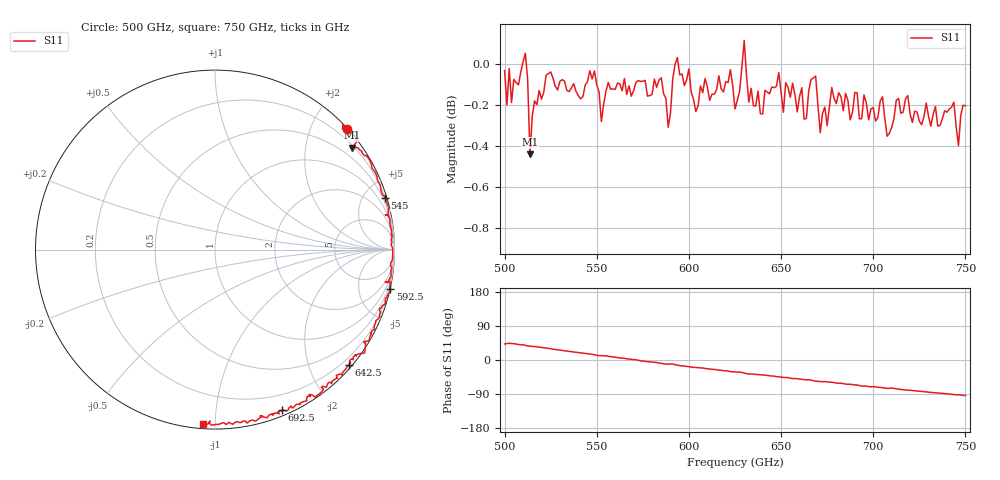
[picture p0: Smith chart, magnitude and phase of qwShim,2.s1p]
!Created with mwavepy.
# GHz S RI R 50.0
!freq	ReS11	ImS11
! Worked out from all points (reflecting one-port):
!   201 points, 500 GHz to 750 GHz, reference 50 ohm
!   lowest |S11| = -0.4 dB at 513.8 GHz (marker M1), VSWR 39.40, Z = 12.8 + j150 ohm
!   phase of S11 starts at 42 deg and turns -136 deg over the sweep
!   S11 on the Smith chart (normalised r, x): 500 GHz: 0.02, +2.58; 545 GHz: 0.23, +6.75; 592.5 GHz: 0.01, -9.09; 642.5 GHz: 0.07, -2.70; 692.5 GHz: 0.05, -1.50; 750 GHz: 0.02, -0.93
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500  0.7359 0.6712
! Port Impedance 50.00000000000000 0.00000000000000
502.5  0.7133 0.697
503.75  0.7105 0.6727
510  0.7686 0.6413
512.5  0.7892 0.5997
513.75  0.7626 0.5674
522.5  0.8444 0.5234
531.25  0.8955 0.4246
545  0.9476 0.287
551.25  0.9649 0.1943
562.5  0.9842 0.0954
585  0.9809 -0.1486
588.75  0.9476 -0.1825
591.25  0.9754 -0.1788
592.5  0.9758 -0.2173
593.75  0.9758 -0.2338
625  0.8294 -0.5123
627.5  0.8379 -0.5168
630  0.8335 -0.5758
632.5  0.782 -0.5885
642.5  0.7468 -0.641
656.25  0.6487 -0.7467
663.75  0.5927 -0.7677
668.75  0.5567 -0.8223
687.5  0.4241 -0.8713
692.5  0.3745 -0.8943
718.75  0.1772 -0.9661
750  -0.0693 -0.9742
